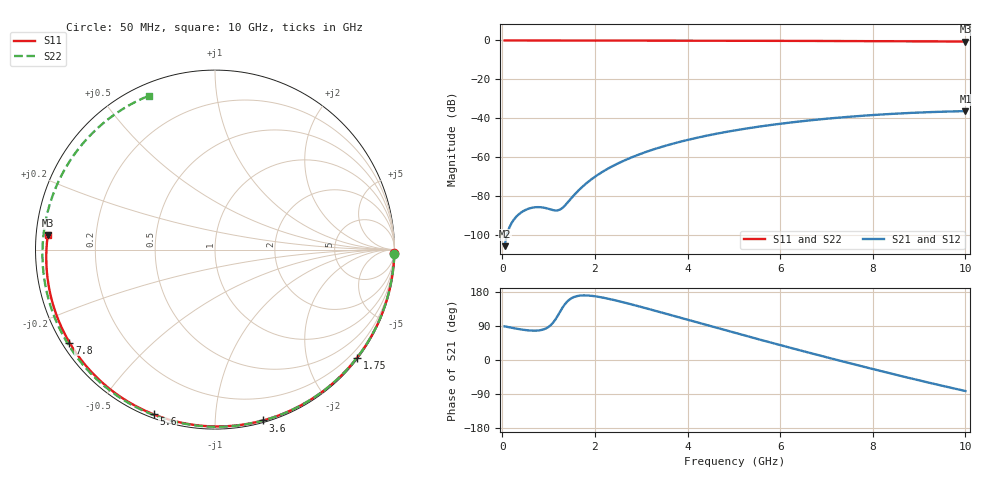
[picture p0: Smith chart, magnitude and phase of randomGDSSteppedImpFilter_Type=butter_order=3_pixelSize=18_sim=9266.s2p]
! freq	dB(S11)	phase(S11)	dB(S12)	phase(S12)
!  dB(S21)	phase(S21)	dB(S22)	phase(S22)
!S-par simulation data
#  GHz  S  DB  R 50
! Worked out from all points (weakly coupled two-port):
!   200 points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, 50 MHz to 10 GHz, reference 50 ohm
!   highest |S21| = -36.25 dB at 10 GHz (marker M1); lowest = -105.5 dB at 50 MHz (marker M2)
!   lowest |S11| = -0.6 dB at 10 GHz (marker M3), VSWR 29.91, Z = 1.67 + j2.16 ohm
!   |S11| at or under -10 dB: nowhere
!   |S22| runs from -0.6 to 0.0 dB; largest |S21 - S12| = 0
!   S11 on the Smith chart (normalised r, x): 50 MHz: open; 1.75 GHz: 0.03, -2.96; 3.6 GHz: 0.02, -1.32; 5.6 GHz: 0.02, -0.69; 7.8 GHz: 0.02, -0.29; 10 GHz: 0.03, +0.04
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0.05  -0.00 -1.1  -105.51 88.7  -105.51 88.7  -0.00 -1.4
0.4  -0.01 -8.7  -88.34 80.7  -88.34 80.7  -0.02 -11.7
0.75  -0.02 -16.2  -85.49 77.6  -85.49 77.6  -0.03 -21.9
1.1  -0.03 -23.7  -87.03 99.0  -87.03 99.0  -0.04 -31.9
1.5  -0.04 -32.2  -80.66 163.4  -80.66 163.4  -0.05 -43.2
1.55  -0.04 -33.2  -79.32 166.3  -79.32 166.3  -0.06 -44.6
1.75  -0.05 -37.4  -74.60 170.5  -74.60 170.5  -0.06 -50.1
2.05  -0.06 -43.6  -69.11 167.3  -69.11 167.3  -0.07 -58.2
2.45  -0.07 -51.7  -63.63 157.2  -63.63 157.2  -0.09 -68.9
2.9  -0.08 -60.7  -58.95 143.2  -58.95 143.2  -0.10 -80.5
3.4  -0.09 -70.4  -54.88 126.6  -54.88 126.6  -0.12 -93.0
3.6  -0.10 -74.3  -53.49 119.9  -53.49 119.9  -0.13 -97.8
4.3  -0.12 -87.3  -49.41 96.1  -49.41 96.1  -0.15 -114.4
5.05  -0.15 -100.8  -46.02 70.8  -46.02 70.8  -0.19 -131.5
5.6  -0.18 -110.5  -44.00 52.5  -44.00 52.5  -0.22 -143.7
6.15  -0.21 -119.9  -42.30 34.5  -42.30 34.5  -0.26 -155.8
6.7  -0.25 -129.1  -40.85 16.8  -40.85 16.8  -0.30 -167.9
7.25  -0.29 -138.3  -39.62 -0.6  -39.62 -0.6  -0.34 179.9
7.8  -0.34 -147.4  -38.58 -17.7  -38.58 -17.7  -0.39 167.4
8.35  -0.39 -156.6  -37.74 -34.4  -37.74 -34.4  -0.44 154.6
9.15  -0.48 -170.1  -36.83 -58.0  -36.83 -58.0  -0.52 135.2
10  -0.58 175.0  -36.25 -81.8  -36.25 -81.8  -0.60 113.2
